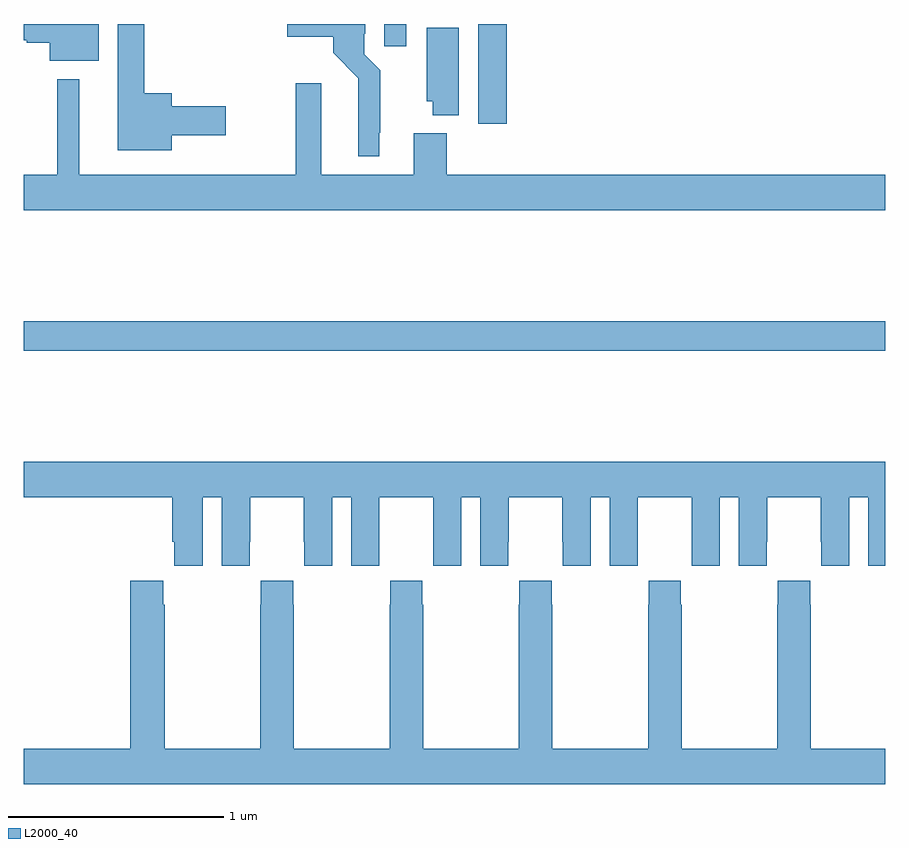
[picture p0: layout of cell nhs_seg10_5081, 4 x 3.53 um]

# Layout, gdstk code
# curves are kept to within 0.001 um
import gdstk
lib = gdstk.Library(unit=1e-6, precision=1e-09)
def R(c, l, rs):  # rectangles x0, y0, x1, y1
    for r in rs: c.add(gdstk.rectangle(r[:2], r[2:], *l))
def P(c, l, *ps):  # polygons
    for p in ps: c.add(gdstk.Polygon(p, *l))
L2000_40 = (2000, 40)

nhs_seg10_5081 = lib.new_cell('nhs_seg10_5081')
R(nhs_seg10_5081, L2000_40, [(405,1312.984,409,1313.12), (407.111,1314.036,407.243,1314.5), (406.673,1314.396,406.777,1314.5)])
P(nhs_seg10_5081, L2000_40, [(405.349,1314.5),(405,1314.5),(405,1314.425),(405.015,1314.425),(405.015,1314.413),(405.122,1314.413),(405.122,1314.329),(405.349,1314.329)],
  [(406.651,1313.995),(406.655,1313.995),(406.655,1314.286),(406.581,1314.36),(406.581,1314.454),(406.585,1314.454),(406.585,1314.5),(406.224,1314.5),(406.224,1314.44),(406.436,1314.44),(406.436,1314.366),(406.554,1314.248),(406.553,1313.885),(406.651,1313.885)],
  [(405.688,1313.984),(405.937,1313.984),(405.937,1314.119),(405.688,1314.119),(405.688,1314.178),(405.559,1314.178),(405.559,1314.5),(405.437,1314.5),(405.437,1313.915),(405.688,1313.915)],
  [(407.02,1314.482),(406.871,1314.482),(406.871,1314.141),(406.898,1314.141),(406.898,1314.077),(407.02,1314.077)],
  [(409,1313.8),(406.964,1313.8),(406.964,1313.992),(406.811,1313.992),(406.811,1313.8),(406.381,1313.8),(406.381,1314.226),(406.264,1314.226),(406.264,1313.8),(405.259,1313.8),(405.259,1314.244),(405.155,1314.244),(405.155,1313.8),(405,1313.8),(405,1313.636),(409,1313.636)],
  [(405,1312.304),(405.689,1312.304),(405.689,1312.096),(405.698,1312.096),(405.698,1311.984),(405.832,1311.984),(405.832,1312.304),(405.92,1312.304),(405.92,1311.984),(406.05,1311.984),(406.05,1312.096),(406.051,1312.096),(406.051,1312.304),(406.301,1312.304),(406.301,1312.096),(406.302,1312.096),(406.302,1311.984),(406.432,1311.984),(406.432,1312.304),(406.52,1312.304),(406.52,1311.984),(406.65,1311.984),(406.65,1312.096),(406.651,1312.096),(406.651,1312.304),(406.901,1312.304),(406.901,1312.096),(406.902,1312.096),(406.902,1311.984),(407.032,1311.984),(407.032,1312.304),(407.12,1312.304),(407.12,1311.984),(407.25,1311.984),(407.25,1312.096),(407.251,1312.096),(407.251,1312.304),(407.501,1312.304),(407.501,1312.096),(407.502,1312.096),(407.502,1311.984),(407.632,1311.984),(407.632,1312.304),(407.72,1312.304),(407.72,1311.984),(407.85,1311.984),(407.85,1312.096),(407.851,1312.096),(407.851,1312.304),(408.101,1312.304),(408.101,1312.096),(408.102,1312.096),(408.102,1311.984),(408.232,1311.984),(408.232,1312.304),(408.32,1312.304),(408.32,1311.984),(408.45,1311.984),(408.45,1312.096),(408.451,1312.096),(408.451,1312.304),(408.701,1312.304),(408.701,1312.096),(408.702,1312.096),(408.702,1311.984),(408.832,1311.984),(408.832,1312.304),(408.92,1312.304),(408.92,1311.984),(409,1311.984),(409,1312.468),(405,1312.468)],
  [(407.451,1311.803),(407.451,1311.916),(407.301,1311.916),(407.301,1311.803),(407.299,1311.803),(407.299,1311.136),(406.854,1311.136),(406.854,1311.803),(406.851,1311.803),(406.851,1311.916),(406.701,1311.916),(406.701,1311.803),(406.699,1311.803),(406.699,1311.136),(406.254,1311.136),(406.254,1311.803),(406.251,1311.803),(406.251,1311.916),(406.101,1311.916),(406.101,1311.803),(406.099,1311.803),(406.099,1311.136),(405.654,1311.136),(405.654,1311.803),(405.647,1311.803),(405.647,1311.916),(405.494,1311.916),(405.494,1311.136),(405,1311.136),(405,1310.972),(409,1310.972),(409,1311.136),(408.654,1311.136),(408.654,1311.803),(408.651,1311.803),(408.651,1311.916),(408.501,1311.916),(408.501,1311.803),(408.499,1311.803),(408.499,1311.136),(408.054,1311.136),(408.054,1311.803),(408.051,1311.803),(408.051,1311.916),(407.901,1311.916),(407.901,1311.803),(407.899,1311.803),(407.899,1311.136),(407.454,1311.136),(407.454,1311.803)])

lib.write_gds('nhs_seg10_5081.gds')
